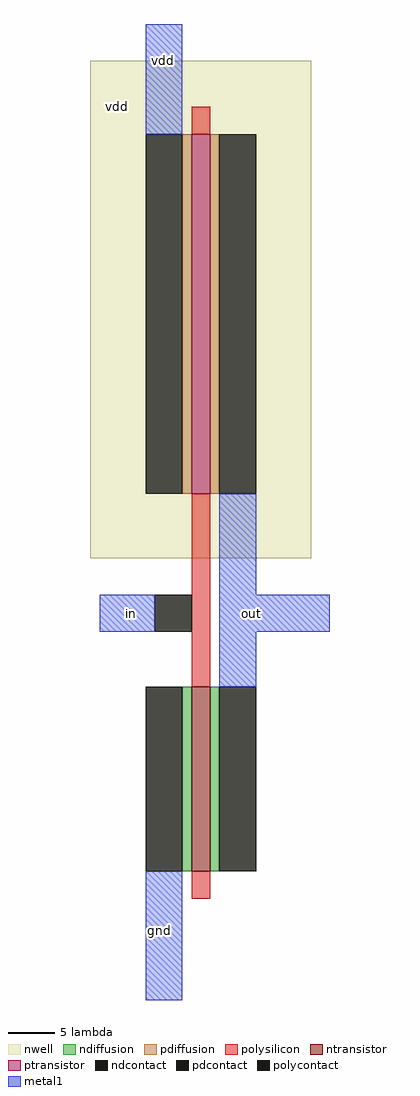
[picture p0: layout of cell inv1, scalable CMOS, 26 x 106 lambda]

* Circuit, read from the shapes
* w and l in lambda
.subckt inv1 gnd in out vdd
M1 out in gnd VSUBS nfet w=20 l=2
M2 out in vdd vdd pfet w=39 l=2
.ends

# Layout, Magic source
magic
tech scmos
<< nwell >>
rect -22 107 2 161
<< ntransistor >>
rect -11 73 -9 93
<< ptransistor >>
rect -11 114 -9 153
<< ndiffusion >>
rect -12 73 -11 93
rect -9 73 -8 93
<< pdiffusion >>
rect -12 114 -11 153
rect -9 114 -8 153
<< ndcontact >>
rect -16 73 -12 93
rect -8 73 -4 93
<< pdcontact >>
rect -16 114 -12 153
rect -8 114 -4 153
<< polysilicon >>
rect -11 153 -9 156
rect -11 93 -9 114
rect -11 70 -9 73
<< polycontact >>
rect -15 99 -11 103
<< metal1 >>
rect -16 153 -12 165
rect -8 103 -4 114
rect -21 99 -15 103
rect -8 99 4 103
rect -8 93 -4 99
rect -16 59 -12 73
<< labels >>
rlabel metal1 -19 100 -16 102 3 in
rlabel metal1 -6 100 -3 102 1 out
rlabel metal1 -16 65 -13 68 1 gnd
rlabel metal1 -15 158 -13 164 5 vdd
rlabel nwell -20 154 -18 158 3 vdd
<< end >>
